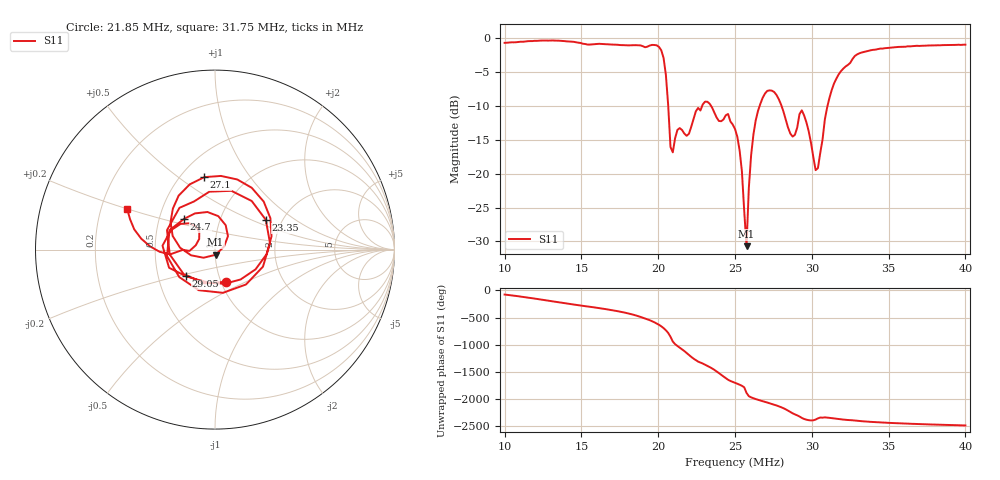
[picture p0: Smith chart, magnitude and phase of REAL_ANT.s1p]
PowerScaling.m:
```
clear all, close all, clc;

% Import s2p files and create graph titles
files = {'REAL_ANT.s1p'};
titles = {'S11 Parameter from .s1p file'};

for file = 1:length(files)
    % Load S-parameters from s1p file
    S = sparameters(files{file});
    freq = S.Frequencies;  % Frequency in Hz
    S11 = squeeze(S.Parameters(1,1,:));
    
    % Convert to dB (use 20log for voltages)
    S11_dB = 20*log10(abs(S11));
    
    % S11
    figure;
    semilogx(freq .* 10^-6, S11_dB, 'b','LineWidth',1.5);
    xlabel('Frequency (MHz)');
    ylabel('|S11| (dB)');
    title('S11');
    grid on;

    % S11 (freq limited to 20-30MHz)
    figure;
    semilogx(freq .* 10^-6, S11_dB, 'b','LineWidth',1.5);
    xlabel('Frequency (MHz)');
    ylabel('|S11| (dB)');
    title('S11');
    grid on;
    xlim([20 30]);

    VSWR = (1 + abs(S11)) ./ (1 - abs(S11));

    % VSWR
    figure;
    semilogx(freq .* 10^-6, VSWR, 'r','LineWidth',1.5);
    xlabel('Frequency (MHz)');
    ylabel('VSWR');
    title('VSWR');
    grid on;
    ylim([1 10]);

    % VSWR (freq limited to 20-30MHz)
    figure;
    semilogx(freq .* 10^-6, VSWR, 'r','LineWidth',1.5);
    xlabel('Frequency (MHz)');
    ylabel('VSWR');
    title('VSWR');
    grid on;
    xlim([20 30]);
    ylim([1 10]);

    P_25_dBm = 10 .* log10(25 .* 1000);% 25W Transmit power from radio
    P_t = (1 - abs(S11).^2) .* 25;   
    P_t_dBm = 10 .* log10(P_t .* 1000);

    % P_t
    figure;
    semilogx(freq .* 10^-6, P_t_dBm, 'r','LineWidth',1.5);
    yline(P_25_dBm, 'label', '25W in dBm');
    xlabel('Frequency (MHz)');
    ylabel('P_t (dBm)');
    title('Power Seen by Antenna System P_t');
    ylim([35 45]);
    grid on;

    % P_t (freq limited to 20-30MHz)
    figure;
    semilogx(freq .* 10^-6, P_t_dBm, 'r','LineWidth',1.5);
    yline(P_25_dBm, 'label', '25W in dBm');    
    xlabel('Frequency (MHz)');
    ylabel('P_t (dBm)');
    title('Power Seen by Antenna System P_t');
    grid on;
    ylim([35 45]);
    xlim([20 30]);

    P_balun = 0.5 .* P_t;
    P_balun_dBm = 10 .* log10(P_balun .* 1000);

    % P_t
    figure;
    hold on;
    p1 = semilogx(freq .* 10^-6, P_t_dBm, 'r','LineWidth',1.5);
    p2 = semilogx(freq .* 10^-6, P_balun_dBm, 'b','LineWidth',1.5);
    yline(P_25_dBm, 'label', '25W in dBm');    
    xlabel('Frequency (MHz)');
    ylabel('Power (dBm)');
    title('Power Seen by Antenna and After Balun Loss');
    ylim([35 45]);
    grid on;
    legend([p1 p2], {'P_t in dBm', 'P_{balun} in dBm'}, 'Location', 'best');

    % P_t (freq limited to 20-30MHz)
    figure;
    hold on;
    p1 = semilogx(freq .* 10^-6, P_t_dBm, 'r','LineWidth',1.5);
    p2 = semilogx(freq .* 10^-6, P_balun_dBm, 'b','LineWidth',1.5);
    yline(P_25_dBm, 'label', '25W in dBm');    
    xlabel('Frequency (MHz)');
    ylabel('Power (dBm)');
    title('Power Seen by Antenna and After Balun Loss');
    ylim([35 45]);
    xlim([20 30]);
    grid on;
    legend([p1 p2], {'P_t in dBm', 'P_{balun} in dBm'}, 'Location', 'best');


    % Create Smith chart
    figure('Name',['Smith Chart: ', titles{file}],'NumberTitle','off');

    smithplot(S11);

end
```
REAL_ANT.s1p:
!Keysight Technologies N9916A: A.13.10
!Date: Tuesday, 11 November 2025 18:37:39
!TimeZone: (UTC-06:00) Central Time (US & Canada)!Model: N9916A
!Serial: MY57273160
!GPS Latitude:
!GPS Longitude:
!GPS TimeStamp: 0001-01-01 00:00:00Z
!GPS Seconds Since Last Read: 0
!CHECKSUM:0672970959
!Correction: S11(ON U)
!S1P File: Measurement: S11:
# Hz S DB R 50
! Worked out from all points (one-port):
!   201 points, 10 MHz to 40 MHz, reference 50 ohm
!   lowest |S11| = -30.7 dB at 25.75 MHz (marker M1), VSWR 1.06, Z = 50.2 - j2.91 ohm
!   |S11| at or under -10 dB: 20.65 MHz to 22.86 MHz (2.211 MHz wide, 10.2 % of centre); 23.44 MHz to 26.61 MHz (3.165 MHz wide, 12.6 % of centre); 28.03 MHz to 31.02 MHz (2.994 MHz wide, 10.1 % of centre)
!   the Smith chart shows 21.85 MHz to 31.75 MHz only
!   S11 on the Smith chart (normalised r, x): 21.85 MHz: 1.06, -0.39; 23.35 MHz: 1.65, +0.61; 24.7 MHz: 0.67, +0.24; 27.1 MHz: 0.65, +0.63; 29.05 MHz: 0.70, -0.22; 31.75 MHz: 0.31, +0.20
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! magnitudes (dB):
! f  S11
! 10 MHz  -0.7
! 20.05 MHz  -1.3
! 20.8 MHz  -16.1
! 21.85 MHz  -14.4
! 23.35 MHz  -9.7
! 24.7 MHz  -12.3
! 25.3 MHz  -16.6
! 25.75 MHz  -30.7
! 26.2 MHz  -14.2
! 27.1 MHz  -7.8
! 29.05 MHz  -13.2
! 30.1 MHz  -17.6
! 31.75 MHz  -5.3
! 40 MHz  -1.0
